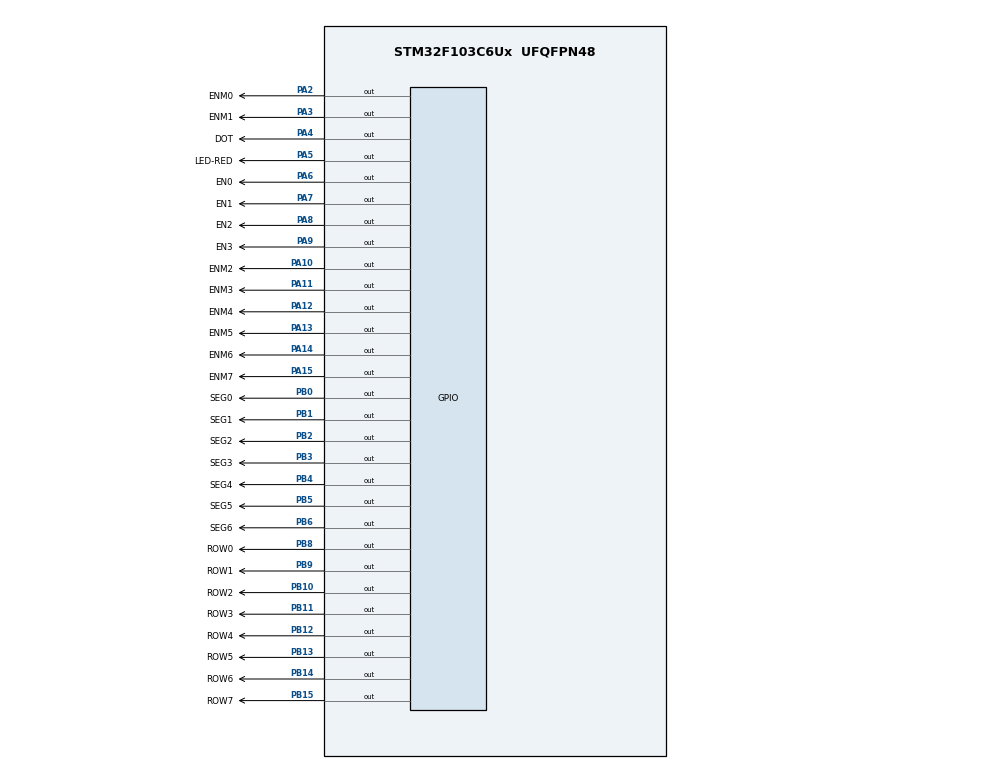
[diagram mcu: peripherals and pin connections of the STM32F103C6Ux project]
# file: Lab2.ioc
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Mcu.Family=STM32F1
Mcu.Name=STM32F103C6Ux
Mcu.Package=UFQFPN48
NVIC.PriorityGroup=NVIC_PRIORITYGROUP_4
NVIC.TIM2_IRQn=true\:0\:0\:false\:false\:true\:true\:true
PA10.GPIO_Label=ENM2
PA10.Signal=GPIO_Output
PA11.GPIO_Label=ENM3
PA11.Signal=GPIO_Output
PA12.GPIO_Label=ENM4
PA12.Signal=GPIO_Output
PA13.GPIO_Label=ENM5
PA13.Signal=GPIO_Output
PA14.GPIO_Label=ENM6
PA14.Signal=GPIO_Output
PA15.GPIO_Label=ENM7
PA15.Signal=GPIO_Output
PA2.GPIO_Label=ENM0
PA2.Signal=GPIO_Output
PA3.GPIO_Label=ENM1
PA3.Signal=GPIO_Output
PA4.GPIO_Label=DOT
PA4.Signal=GPIO_Output
PA5.GPIO_Label=LED-RED
PA5.Signal=GPIO_Output
PA6.GPIO_Label=EN0
PA6.Signal=GPIO_Output
PA7.GPIO_Label=EN1
PA7.Signal=GPIO_Output
PA8.GPIO_Label=EN2
PA8.Signal=GPIO_Output
PA9.GPIO_Label=EN3
PA9.Signal=GPIO_Output
PB0.GPIO_Label=SEG0
PB0.Signal=GPIO_Output
PB1.GPIO_Label=SEG1
PB1.Signal=GPIO_Output
PB10.GPIO_Label=ROW2
PB10.Signal=GPIO_Output
PB11.GPIO_Label=ROW3
PB11.Signal=GPIO_Output
PB12.GPIO_Label=ROW4
PB12.Signal=GPIO_Output
PB13.GPIO_Label=ROW5
PB13.Signal=GPIO_Output
PB14.GPIO_Label=ROW6
PB14.Signal=GPIO_Output
PB15.GPIO_Label=ROW7
PB15.Signal=GPIO_Output
PB2.GPIO_Label=SEG2
PB2.Signal=GPIO_Output
PB3.GPIO_Label=SEG3
PB3.Signal=GPIO_Output
PB4.GPIO_Label=SEG4
PB4.Signal=GPIO_Output
PB5.GPIO_Label=SEG5
PB5.Signal=GPIO_Output
PB6.GPIO_Label=SEG6
PB6.Signal=GPIO_Output
PB8.GPIO_Label=ROW0
PB8.Signal=GPIO_Output
PB9.GPIO_Label=ROW1
PB9.Signal=GPIO_Output
ProjectManager.HeapSize=0x200
ProjectManager.StackSize=0x400
ProjectManager.TargetToolchain=STM32CubeIDE
RCC.APB1Freq_Value=8000000
RCC.APB2Freq_Value=8000000
TIM2.Period=9
TIM2.Prescaler=7999
VP_SYS_VS_ND.Mode=No_Debug
VP_TIM2_VS_ClockSourceINT.Mode=Internal
board=custom

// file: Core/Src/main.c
/* USER CODE BEGIN Header */
/**
 ******************************************************************************
 * @file           : main.c
 * @brief          : Main program body
 ******************************************************************************
 * @attention
 *
 * <h2><center>&copy; Copyright (c) 2025 STMicroelectronics.
 * All rights reserved.</center></h2>
 *
 * This software component is licensed by ST under BSD 3-Clause license,
 * the "License"; You may not use this file except in compliance with the
 * License. You may obtain a copy of the License at:
 *                        opensource.org/licenses/BSD-3-Clause
 *
 ******************************************************************************
 */
/* USER CODE END Header */
#include "main.h"

TIM_HandleTypeDef htim2;

void SystemClock_Config(void);
static void MX_GPIO_Init(void);
static void MX_TIM2_Init(void);

/* USER CODE BEGIN 0 */

//---------Timer---------------
int timer0_counter = 0;
int timer1_counter = 0;
int timer2_counter = 0;

int timer0_flag = 0;
int timer1_flag = 0;
int timer2_flag = 0;

int TIMER_CYCLE = 10;
void setTimer0(int duration){
	timer0_counter = duration /TIMER_CYCLE;
	timer0_flag = 0;
}
void setTimer1(int duration){
	timer1_counter = duration /TIMER_CYCLE;
	timer1_flag = 0;
}
void setTimer2(int duration){
	timer2_counter = duration /TIMER_CYCLE;
	timer2_flag = 0;
}
void timer_run(){
	if(timer0_counter > 0){
		timer0_counter--;
		if(timer0_counter == 0) timer0_flag = 1;
	}
	if(timer1_counter > 0){
		timer1_counter--;
		if(timer1_counter == 0) timer1_flag = 1;
	}
	if(timer2_counter > 0){
		timer2_counter--;
		if(timer2_counter == 0) timer2_flag = 1;
	}
}

//------7SEG-LED-------------------
const int MAX_LED = 4;
int index_led = 0;
int led_buffer[4] = { 1, 2, 3, 4 };
static const uint8_t segCode[10] = {
		0b1000000, // 0
		0b1111001, // 1
		0b0100100, // 2
		0b0110000, // 3
		0b0011001, // 4
		0b0010010, // 5
		0b0000010, // 6
		0b1111000, // 7
		0b0000000, // 8
		0b0010000  // 9
		};

void display7SEG(int num) {
	if (num < 0 || num > 9)
		num = 0;

	for (int i = 0; i < 7; i++) {
		HAL_GPIO_WritePin(GPIOB, (1 << i),
				(segCode[num] & (1 << i)) ? GPIO_PIN_SET : GPIO_PIN_RESET);
	}
}

void update7SEG(int index) {
//---------Testing random input-----------------
//	led_buffer[index]=rand()%10;
//----------------------------------------------
	switch (index) {
	case 0:
		HAL_GPIO_WritePin(GPIOA, EN1_Pin | EN2_Pin | EN3_Pin, GPIO_PIN_SET);
		HAL_GPIO_WritePin(GPIOA, EN0_Pin, GPIO_PIN_RESET);
		display7SEG(led_buffer[0]);
		break;
	case 1:
		HAL_GPIO_WritePin(GPIOA, EN0_Pin | EN2_Pin | EN3_Pin, GPIO_PIN_SET);
		HAL_GPIO_WritePin(GPIOA, EN1_Pin, GPIO_PIN_RESET);
		display7SEG(led_buffer[1]);
		break;
	case 2:
		HAL_GPIO_WritePin(GPIOA, EN0_Pin | EN1_Pin | EN3_Pin, GPIO_PIN_SET);
		HAL_GPIO_WritePin(GPIOA, EN2_Pin, GPIO_PIN_RESET);
		display7SEG(led_buffer[2]);
		break;
	case 3:
		HAL_GPIO_WritePin(GPIOA, EN0_Pin | EN1_Pin | EN2_Pin, GPIO_PIN_SET);
		HAL_GPIO_WritePin(GPIOA, EN3_Pin, GPIO_PIN_RESET);
		display7SEG(led_buffer[3]);
		break;
	default:
		break;
	}
}
void updateClockBuffer (int hour, int minute){
	led_buffer[0]= hour/10;
	led_buffer[1]= hour%10;
	led_buffer[2]= minute/10;
	led_buffer[3]= minute%10;
}

//--------Matrix-LED--------

const int MAX_LED_MATRIX = 8;
uint8_t matrix_buffer[8] = {
	    0b00000000,  // Col0
	    0b11111110,  // Col1
	    0b00100011,  // Col2
	    0b00100011,  // Col3
	    0b00100011,  // Col4
	    0b11111110,  // Col5
	    0b00000000,  // Col6
	    0b00000000   // Col7 (trống)
};

int index_matrix = 0;

void DisableMatrixCols(void){
    HAL_GPIO_WritePin(GPIOA,
        ENM0_Pin | ENM1_Pin | ENM2_Pin | ENM3_Pin |
        ENM4_Pin | ENM5_Pin | ENM6_Pin | ENM7_Pin,
        GPIO_PIN_SET);  // Tắt tất cả cột (đặt HIGH)
}

//scan cols
void updateLEDMatrix(int index) {
    if(index < 0 || index >= MAX_LED_MATRIX) return;

    // Tắt tất cả cột trước khi bật cột mới
    DisableMatrixCols();

    // Hiển thị cột index
    switch(index){
        case 0: HAL_GPIO_WritePin(GPIOA, ENM0_Pin, GPIO_PIN_RESET); break;
        case 1: HAL_GPIO_WritePin(GPIOA, ENM1_Pin, GPIO_PIN_RESET); break;
        case 2: HAL_GPIO_WritePin(GPIOA, ENM2_Pin, GPIO_PIN_RESET); break;
        case 3: HAL_GPIO_WritePin(GPIOA, ENM3_Pin, GPIO_PIN_RESET); break;
        case 4: HAL_GPIO_WritePin(GPIOA, ENM4_Pin, GPIO_PIN_RESET); break;
        case 5: HAL_GPIO_WritePin(GPIOA, ENM5_Pin, GPIO_PIN_RESET); break;
        case 6: HAL_GPIO_WritePin(GPIOA, ENM6_Pin, GPIO_PIN_RESET); break;
        case 7: HAL_GPIO_WritePin(GPIOA, ENM7_Pin, GPIO_PIN_RESET); break;
        default: return; // Nếu col > 7 thì không làm gì
    }

    // get cols data
    uint8_t col_data = matrix_buffer[index];
    col_data=~col_data;

//     display row with bit in col_data
    HAL_GPIO_WritePin(GPIOB, ROW0_Pin, (col_data & 0x01) ? GPIO_PIN_SET : GPIO_PIN_RESET);
    HAL_GPIO_WritePin(GPIOB, ROW1_Pin, (col_data & 0x02) ? GPIO_PIN_SET : GPIO_PIN_RESET);
    HAL_GPIO_WritePin(GPIOB, ROW2_Pin, (col_data & 0x04) ? GPIO_PIN_SET : GPIO_PIN_RESET);
    HAL_GPIO_WritePin(GPIOB, ROW3_Pin, (col_data & 0x08) ? GPIO_PIN_SET : GPIO_PIN_RESET);
    HAL_GPIO_WritePin(GPIOB, ROW4_Pin, (col_data & 0x10) ? GPIO_PIN_SET : GPIO_PIN_RESET);
    HAL_GPIO_WritePin(GPIOB, ROW5_Pin, (col_data & 0x20) ? GPIO_PIN_SET : GPIO_PIN_RESET);
    HAL_GPIO_WritePin(GPIOB, ROW6_Pin, (col_data & 0x40) ? GPIO_PIN_SET : GPIO_PIN_RESET);
    HAL_GPIO_WritePin(GPIOB, ROW7_Pin, (col_data & 0x80) ? GPIO_PIN_SET : GPIO_PIN_RESET);
}

/* USER CODE END 0 */

int main(void)
{

  /* MCU Configuration--------------------------------------------------------*/

  /* Reset of all peripherals, Initializes the Flash interface and the Systick. */
  HAL_Init();

  /* Configure the system clock */
  SystemClock_Config();

  /* Initialize all configured peripherals */
  MX_GPIO_Init();
  MX_TIM2_Init();
  /* USER CODE BEGIN 2 */
	HAL_TIM_Base_Start_IT(&htim2);

  /* USER CODE END 2 */

  /* Infinite loop */
  /* USER CODE BEGIN WHILE */
	int hour = 15, minute = 8, second = 50;
	setTimer1(1000); // Timer for clock update
	setTimer0(250);  // Timer for 7segLED scanning
	setTimer2(10);
	while (1){
	    if(timer1_flag){
	        // update every sec
	        HAL_GPIO_TogglePin(LED_RED_GPIO_Port, LED_RED_Pin); //Toggle Pin PA5
	        HAL_GPIO_TogglePin(DOT_GPIO_Port, DOT_Pin);
	        second++;
	        if(second >= 60){
	            second = 0;
	            minute++;
	            if(minute >= 60){
	                minute = 0;
	                hour++;
	                if(hour >=24) hour = 0;
	            }
	        }
	        updateClockBuffer(hour, minute);
	        setTimer1(1000);
	    }
	    if(timer0_flag){
	        // update every 250 ms
	        update7SEG(index_led);
	        index_led++;
	        if(index_led >= MAX_LED) index_led = 0;
	        setTimer0(250);
	    }
	    if(timer2_flag){
	        // quét matrix mỗi 10ms
	        updateLEDMatrix(index_matrix);
	        index_matrix++;
	        if(index_matrix >= MAX_LED_MATRIX) index_matrix = 0;
	        setTimer2(10);
	    }
	}

  /* USER CODE END 3 */
}

void SystemClock_Config(void)
{
  RCC_OscInitTypeDef RCC_OscInitStruct = {0};
  RCC_ClkInitTypeDef RCC_ClkInitStruct = {0};

  /** Initializes the RCC Oscillators according to the specified parameters
  * in the RCC_OscInitTypeDef structure.
  */
  RCC_OscInitStruct.OscillatorType = RCC_OSCILLATORTYPE_HSI;
  RCC_OscInitStruct.HSIState = RCC_HSI_ON;
  RCC_OscInitStruct.HSICalibrationValue = RCC_HSICALIBRATION_DEFAULT;
  RCC_OscInitStruct.PLL.PLLState = RCC_PLL_NONE;
  if (HAL_RCC_OscConfig(&RCC_OscInitStruct) != HAL_OK)
  {
    Error_Handler();
  }
  /** Initializes the CPU, AHB and APB buses clocks
  */
  RCC_ClkInitStruct.ClockType = RCC_CLOCKTYPE_HCLK|RCC_CLOCKTYPE_SYSCLK
                              |RCC_CLOCKTYPE_PCLK1|RCC_CLOCKTYPE_PCLK2;
  RCC_ClkInitStruct.SYSCLKSource = RCC_SYSCLKSOURCE_HSI;
  RCC_ClkInitStruct.AHBCLKDivider = RCC_SYSCLK_DIV1;
  RCC_ClkInitStruct.APB1CLKDivider = RCC_HCLK_DIV1;
  RCC_ClkInitStruct.APB2CLKDivider = RCC_HCLK_DIV1;

  if (HAL_RCC_ClockConfig(&RCC_ClkInitStruct, FLASH_LATENCY_0) != HAL_OK)
  {
    Error_Handler();
  }
}

static void MX_TIM2_Init(void)
{

  TIM_ClockConfigTypeDef sClockSourceConfig = {0};
  TIM_MasterConfigTypeDef sMasterConfig = {0};

  htim2.Instance = TIM2;
  htim2.Init.Prescaler = 7999;
  htim2.Init.CounterMode = TIM_COUNTERMODE_UP;
  htim2.Init.Period = 9;
  htim2.Init.ClockDivision = TIM_CLOCKDIVISION_DIV1;
  htim2.Init.AutoReloadPreload = TIM_AUTORELOAD_PRELOAD_DISABLE;
  if (HAL_TIM_Base_Init(&htim2) != HAL_OK)
  {
    Error_Handler();
  }
  sClockSourceConfig.ClockSource = TIM_CLOCKSOURCE_INTERNAL;
  if (HAL_TIM_ConfigClockSource(&htim2, &sClockSourceConfig) != HAL_OK)
  {
    Error_Handler();
  }
  sMasterConfig.MasterOutputTrigger = TIM_TRGO_RESET;
  sMasterConfig.MasterSlaveMode = TIM_MASTERSLAVEMODE_DISABLE;
  if (HAL_TIMEx_MasterConfigSynchronization(&htim2, &sMasterConfig) != HAL_OK)
  {
    Error_Handler();
  }

}

static void MX_GPIO_Init(void)
{
  GPIO_InitTypeDef GPIO_InitStruct = {0};

  /* GPIO Ports Clock Enable */
  __HAL_RCC_GPIOA_CLK_ENABLE();
  __HAL_RCC_GPIOB_CLK_ENABLE();

  /*Configure GPIO pin Output Level */
  HAL_GPIO_WritePin(GPIOA, ENM0_Pin|ENM1_Pin|DOT_Pin|LED_RED_Pin
                          |EN0_Pin|EN1_Pin|EN2_Pin|EN3_Pin
                          |ENM2_Pin|ENM3_Pin|ENM4_Pin|ENM5_Pin
                          |ENM6_Pin|ENM7_Pin, GPIO_PIN_RESET);

  /*Configure GPIO pin Output Level */
  HAL_GPIO_WritePin(GPIOB, SEG0_Pin|SEG1_Pin|SEG2_Pin|ROW2_Pin
                          |ROW3_Pin|ROW4_Pin|ROW5_Pin|ROW6_Pin
                          |ROW7_Pin|SEG3_Pin|SEG4_Pin|SEG5_Pin
                          |SEG6_Pin|ROW0_Pin|ROW1_Pin, GPIO_PIN_RESET);

  /*Configure GPIO pins : ENM0_Pin ENM1_Pin DOT_Pin LED_RED_Pin
                           EN0_Pin EN1_Pin EN2_Pin EN3_Pin
                           ENM2_Pin ENM3_Pin ENM4_Pin ENM5_Pin
                           ENM6_Pin ENM7_Pin */
  GPIO_InitStruct.Pin = ENM0_Pin|ENM1_Pin|DOT_Pin|LED_RED_Pin
                          |EN0_Pin|EN1_Pin|EN2_Pin|EN3_Pin
                          |ENM2_Pin|ENM3_Pin|ENM4_Pin|ENM5_Pin
                          |ENM6_Pin|ENM7_Pin;
  GPIO_InitStruct.Mode = GPIO_MODE_OUTPUT_PP;
  GPIO_InitStruct.Pull = GPIO_NOPULL;
  GPIO_InitStruct.Speed = GPIO_SPEED_FREQ_LOW;
  HAL_GPIO_Init(GPIOA, &GPIO_InitStruct);

  /*Configure GPIO pins : SEG0_Pin SEG1_Pin SEG2_Pin ROW2_Pin
                           ROW3_Pin ROW4_Pin ROW5_Pin ROW6_Pin
                           ROW7_Pin SEG3_Pin SEG4_Pin SEG5_Pin
                           SEG6_Pin ROW0_Pin ROW1_Pin */
  GPIO_InitStruct.Pin = SEG0_Pin|SEG1_Pin|SEG2_Pin|ROW2_Pin
                          |ROW3_Pin|ROW4_Pin|ROW5_Pin|ROW6_Pin
                          |ROW7_Pin|SEG3_Pin|SEG4_Pin|SEG5_Pin
                          |SEG6_Pin|ROW0_Pin|ROW1_Pin;
  GPIO_InitStruct.Mode = GPIO_MODE_OUTPUT_PP;
  GPIO_InitStruct.Pull = GPIO_NOPULL;
  GPIO_InitStruct.Speed = GPIO_SPEED_FREQ_LOW;
  HAL_GPIO_Init(GPIOB, &GPIO_InitStruct);

}

/* USER CODE BEGIN 4 */
int counter=0;
void HAL_TIM_PeriodElapsedCallback(TIM_HandleTypeDef *htim) {
	timer_run();

}

/* USER CODE END 4 */

void Error_Handler(void)
{
	__disable_irq();
	while (1) {
	}
}

/************************ (C) COPYRIGHT STMicroelectronics *****END OF FILE****/
